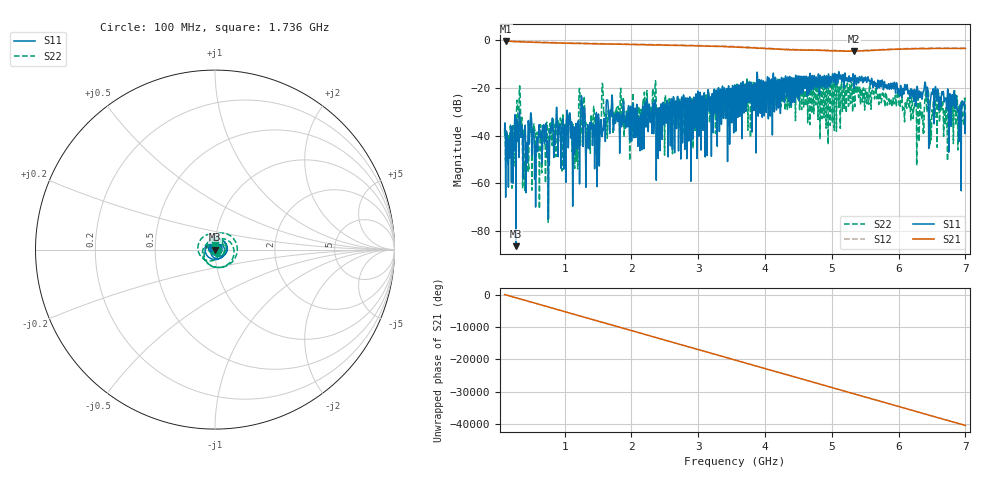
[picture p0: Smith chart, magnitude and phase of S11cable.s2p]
#  HZ  S  RI  R  50.00
! Rohde & Schwarz ZVA24 4Ports - Version 3.12 - 1145.1110k26 SN: 100162
! Date: 2018-06-04 05:56:55
! Measurements: S11 S21 S12 S22
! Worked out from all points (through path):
!   6900 points, 100 MHz to 7 GHz, reference 50 ohm
!   highest |S21| = -0.29 dB at 121 MHz (marker M1); lowest = -4.6 dB at 5.332 GHz (marker M2)
!   group delay of S21, straight-line fit = 16.3 ns
!   lowest |S11| = -86.5 dB at 271 MHz (marker M3), VSWR 1.00, Z = 50 + j0.0028 ohm
!   |S11| at or under -10 dB: start of sweep to end of sweep
!   |S22| runs from -76.5 to -15.5 dB; largest |S21 - S12| = 0.18
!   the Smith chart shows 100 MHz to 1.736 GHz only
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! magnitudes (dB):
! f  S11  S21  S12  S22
! 100 MHz  -37.7  -0.3  -0.1  -38.0
! 121 MHz  -41.3  -0.3  -0.2  -48.6
! 271 MHz  -86.5  -0.6  -0.4  -54.7
! 311 MHz  -42.6  -0.6  -0.4  -44.6
! 427 MHz  -43.4  -0.7  -0.6  -43.5
! 505.1 MHz  -34.0  -0.8  -0.6  -45.6
! 575.1 MHz  -45.0  -0.9  -0.7  -41.5
! 1.053 GHz  -45.2  -1.2  -1.1  -37.5
! 1.126 GHz  -50.9  -1.3  -1.2  -37.4
! 1.164 GHz  -38.6  -1.3  -1.2  -39.3
! 1.25 GHz  -23.3  -1.4  -1.2  -29.5
! 1.273 GHz  -44.0  -1.4  -1.2  -41.3
! 1.341 GHz  -36.2  -1.4  -1.3  -35.4
! 1.57 GHz  -37.3  -1.5  -1.4  -19.7
! 1.653 GHz  -28.9  -1.6  -1.5  -29.6
! 2.344 GHz  -29.3  -1.9  -1.8  -29.8
! 2.4 GHz  -46.9  -2.0  -1.8  -36.3
! 3.551 GHz  -20.2  -2.8  -2.7  -19.2
! 4.701 GHz  -15.4  -4.2  -4.1  -30.7
! 5.332 GHz  -19.9  -4.6  -4.4  -20.1
! 5.851 GHz  -18.5  -3.9  -3.8  -25.1
! 7 GHz  -31.9  -3.4  -3.3  -31.8
